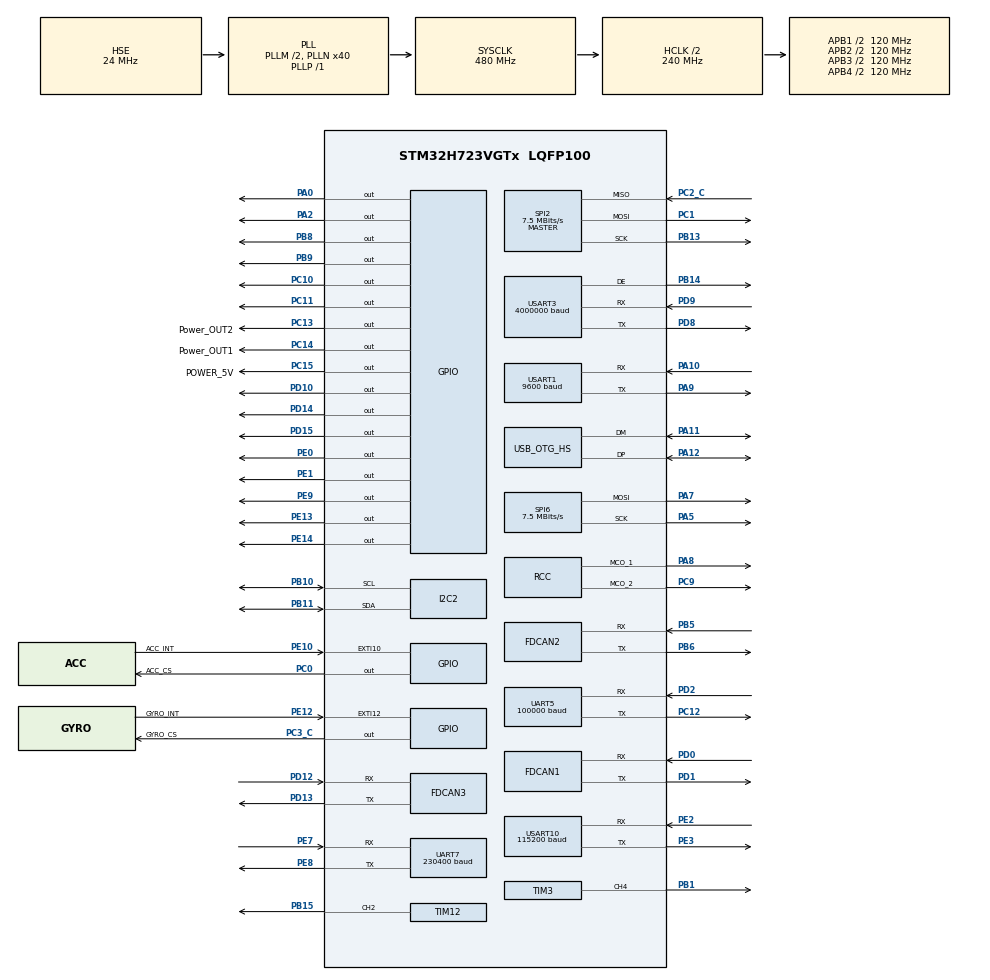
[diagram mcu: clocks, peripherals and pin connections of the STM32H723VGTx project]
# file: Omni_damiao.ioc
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CORTEX_M7.AccessPermission-Cortex_Memory_Protection_Unit_Region0_Settings=MPU_REGION_PRIV_RO
CORTEX_M7.AccessPermission-Cortex_Memory_Protection_Unit_Region1_Settings=MPU_REGION_FULL_ACCESS
CORTEX_M7.BaseAddress-Cortex_Memory_Protection_Unit_Region0_Settings=0x08000000
CORTEX_M7.BaseAddress-Cortex_Memory_Protection_Unit_Region1_Settings=0x20000000
CORTEX_M7.Enable-Cortex_Memory_Protection_Unit_Region0_Settings=MPU_REGION_ENABLE
CORTEX_M7.Enable-Cortex_Memory_Protection_Unit_Region1_Settings=MPU_REGION_ENABLE
CORTEX_M7.IsCacheable-Cortex_Memory_Protection_Unit_Region0_Settings=MPU_ACCESS_CACHEABLE
CORTEX_M7.MPU_Control=MPU_PRIVILEGED_DEFAULT
CORTEX_M7.Number-Cortex_Memory_Protection_Unit_Region1_Settings=MPU_REGION_NUMBER1
CORTEX_M7.Number-Cortex_Memory_Protection_Unit_Region2_Settings=MPU_REGION_NUMBER2
CORTEX_M7.Number-Cortex_Memory_Protection_Unit_Region3_Settings=MPU_REGION_NUMBER3
CORTEX_M7.Number-Cortex_Memory_Protection_Unit_Region4_Settings=MPU_REGION_NUMBER4
CORTEX_M7.Size-Cortex_Memory_Protection_Unit_Region0_Settings=MPU_REGION_SIZE_1MB
CORTEX_M7.Size-Cortex_Memory_Protection_Unit_Region1_Settings=MPU_REGION_SIZE_128MB
CORTEX_M7.SubRegionDisable-Cortex_Memory_Protection_Unit_Region1_Settings=0xEE
CORTEX_M7.TypeExtField-Cortex_Memory_Protection_Unit_Region0_Settings=MPU_TEX_LEVEL1
CORTEX_M7.TypeExtField-Cortex_Memory_Protection_Unit_Region1_Settings=MPU_TEX_LEVEL1
Dma.Request0=SPI2_RX
Dma.Request1=SPI2_TX
Dma.Request10=USART1_TX
Dma.Request2=UART5_RX
Dma.Request3=UART7_RX
Dma.Request4=UART7_TX
Dma.Request5=USART10_RX
Dma.Request6=USART10_TX
Dma.Request7=USART3_RX
Dma.Request8=USART3_TX
Dma.Request9=USART1_RX
Dma.SPI2_RX.0.Direction=DMA_PERIPH_TO_MEMORY
Dma.SPI2_RX.0.EventEnable=DISABLE
Dma.SPI2_RX.0.FIFOMode=DMA_FIFOMODE_DISABLE
Dma.SPI2_RX.0.Instance=DMA1_Stream0
Dma.SPI2_RX.0.MemDataAlignment=DMA_MDATAALIGN_BYTE
Dma.SPI2_RX.0.MemInc=DMA_MINC_ENABLE
Dma.SPI2_RX.0.Mode=DMA_NORMAL
Dma.SPI2_RX.0.PeriphDataAlignment=DMA_PDATAALIGN_BYTE
Dma.SPI2_RX.0.PeriphInc=DMA_PINC_DISABLE
Dma.SPI2_RX.0.Polarity=HAL_DMAMUX_REQ_GEN_RISING
Dma.SPI2_RX.0.Priority=DMA_PRIORITY_VERY_HIGH
Dma.SPI2_RX.0.RequestNumber=1
Dma.SPI2_RX.0.SignalID=NONE
Dma.SPI2_RX.0.SyncEnable=DISABLE
Dma.SPI2_RX.0.SyncPolarity=HAL_DMAMUX_SYNC_NO_EVENT
Dma.SPI2_RX.0.SyncRequestNumber=1
Dma.SPI2_RX.0.SyncSignalID=NONE
Dma.SPI2_TX.1.Direction=DMA_MEMORY_TO_PERIPH
Dma.SPI2_TX.1.EventEnable=DISABLE
Dma.SPI2_TX.1.FIFOMode=DMA_FIFOMODE_DISABLE
Dma.SPI2_TX.1.Instance=DMA1_Stream1
Dma.SPI2_TX.1.MemDataAlignment=DMA_MDATAALIGN_BYTE
Dma.SPI2_TX.1.MemInc=DMA_MINC_ENABLE
Dma.SPI2_TX.1.Mode=DMA_NORMAL
Dma.SPI2_TX.1.PeriphDataAlignment=DMA_PDATAALIGN_BYTE
Dma.SPI2_TX.1.PeriphInc=DMA_PINC_DISABLE
Dma.SPI2_TX.1.Polarity=HAL_DMAMUX_REQ_GEN_RISING
Dma.SPI2_TX.1.Priority=DMA_PRIORITY_VERY_HIGH
Dma.SPI2_TX.1.RequestNumber=1
Dma.SPI2_TX.1.SignalID=NONE
Dma.SPI2_TX.1.SyncEnable=DISABLE
Dma.SPI2_TX.1.SyncPolarity=HAL_DMAMUX_SYNC_NO_EVENT
Dma.SPI2_TX.1.SyncRequestNumber=1
Dma.SPI2_TX.1.SyncSignalID=NONE
Dma.UART5_RX.2.Direction=DMA_PERIPH_TO_MEMORY
Dma.UART5_RX.2.EventEnable=DISABLE
Dma.UART5_RX.2.FIFOMode=DMA_FIFOMODE_DISABLE
Dma.UART5_RX.2.Instance=DMA1_Stream2
Dma.UART5_RX.2.MemDataAlignment=DMA_MDATAALIGN_BYTE
Dma.UART5_RX.2.MemInc=DMA_MINC_ENABLE
Dma.UART5_RX.2.Mode=DMA_NORMAL
Dma.UART5_RX.2.PeriphDataAlignment=DMA_PDATAALIGN_BYTE
Dma.UART5_RX.2.PeriphInc=DMA_PINC_DISABLE
Dma.UART5_RX.2.Polarity=HAL_DMAMUX_REQ_GEN_RISING
Dma.UART5_RX.2.Priority=DMA_PRIORITY_VERY_HIGH
Dma.UART5_RX.2.RequestNumber=1
Dma.UART5_RX.2.SignalID=NONE
Dma.UART5_RX.2.SyncEnable=DISABLE
Dma.UART5_RX.2.SyncPolarity=HAL_DMAMUX_SYNC_NO_EVENT
Dma.UART5_RX.2.SyncRequestNumber=1
Dma.UART5_RX.2.SyncSignalID=NONE
Dma.UART7_RX.3.Direction=DMA_PERIPH_TO_MEMORY
Dma.UART7_RX.3.EventEnable=DISABLE
Dma.UART7_RX.3.FIFOMode=DMA_FIFOMODE_DISABLE
Dma.UART7_RX.3.Instance=DMA1_Stream3
Dma.UART7_RX.3.MemDataAlignment=DMA_MDATAALIGN_BYTE
Dma.UART7_RX.3.MemInc=DMA_MINC_ENABLE
Dma.UART7_RX.3.Mode=DMA_NORMAL
Dma.UART7_RX.3.PeriphDataAlignment=DMA_PDATAALIGN_BYTE
Dma.UART7_RX.3.PeriphInc=DMA_PINC_DISABLE
Dma.UART7_RX.3.Polarity=HAL_DMAMUX_REQ_GEN_RISING
Dma.UART7_RX.3.Priority=DMA_PRIORITY_VERY_HIGH
Dma.UART7_RX.3.RequestNumber=1
Dma.UART7_RX.3.SignalID=NONE
Dma.UART7_RX.3.SyncEnable=DISABLE
Dma.UART7_RX.3.SyncPolarity=HAL_DMAMUX_SYNC_NO_EVENT
Dma.UART7_RX.3.SyncRequestNumber=1
Dma.UART7_RX.3.SyncSignalID=NONE
Dma.UART7_TX.4.Direction=DMA_MEMORY_TO_PERIPH
Dma.UART7_TX.4.EventEnable=DISABLE
Dma.UART7_TX.4.FIFOMode=DMA_FIFOMODE_DISABLE
Dma.UART7_TX.4.Instance=DMA1_Stream4
Dma.UART7_TX.4.MemDataAlignment=DMA_MDATAALIGN_BYTE
Dma.UART7_TX.4.MemInc=DMA_MINC_ENABLE
Dma.UART7_TX.4.Mode=DMA_NORMAL
Dma.UART7_TX.4.PeriphDataAlignment=DMA_PDATAALIGN_BYTE
Dma.UART7_TX.4.PeriphInc=DMA_PINC_DISABLE
Dma.UART7_TX.4.Polarity=HAL_DMAMUX_REQ_GEN_RISING
Dma.UART7_TX.4.Priority=DMA_PRIORITY_VERY_HIGH
Dma.UART7_TX.4.RequestNumber=1
Dma.UART7_TX.4.SignalID=NONE
Dma.UART7_TX.4.SyncEnable=DISABLE
Dma.UART7_TX.4.SyncPolarity=HAL_DMAMUX_SYNC_NO_EVENT
Dma.UART7_TX.4.SyncRequestNumber=1
Dma.UART7_TX.4.SyncSignalID=NONE
Dma.USART10_RX.5.Direction=DMA_PERIPH_TO_MEMORY
Dma.USART10_RX.5.EventEnable=DISABLE
Dma.USART10_RX.5.FIFOMode=DMA_FIFOMODE_DISABLE
Dma.USART10_RX.5.Instance=DMA1_Stream5
Dma.USART10_RX.5.MemDataAlignment=DMA_MDATAALIGN_BYTE
Dma.USART10_RX.5.MemInc=DMA_MINC_ENABLE
Dma.USART10_RX.5.Mode=DMA_NORMAL
Dma.USART10_RX.5.PeriphDataAlignment=DMA_PDATAALIGN_BYTE
Dma.USART10_RX.5.PeriphInc=DMA_PINC_DISABLE
Dma.USART10_RX.5.Polarity=HAL_DMAMUX_REQ_GEN_RISING
Dma.USART10_RX.5.Priority=DMA_PRIORITY_VERY_HIGH
Dma.USART10_RX.5.RequestNumber=1
Dma.USART10_RX.5.SignalID=NONE
Dma.USART10_RX.5.SyncEnable=DISABLE
Dma.USART10_RX.5.SyncPolarity=HAL_DMAMUX_SYNC_NO_EVENT
Dma.USART10_RX.5.SyncRequestNumber=1
Dma.USART10_RX.5.SyncSignalID=NONE
Dma.USART10_TX.6.Direction=DMA_MEMORY_TO_PERIPH
Dma.USART10_TX.6.EventEnable=DISABLE
Dma.USART10_TX.6.FIFOMode=DMA_FIFOMODE_DISABLE
Dma.USART10_TX.6.Instance=DMA1_Stream6
Dma.USART10_TX.6.MemDataAlignment=DMA_MDATAALIGN_BYTE
Dma.USART10_TX.6.MemInc=DMA_MINC_ENABLE
Dma.USART10_TX.6.Mode=DMA_NORMAL
Dma.USART10_TX.6.PeriphDataAlignment=DMA_PDATAALIGN_BYTE
Dma.USART10_TX.6.PeriphInc=DMA_PINC_DISABLE
Dma.USART10_TX.6.Polarity=HAL_DMAMUX_REQ_GEN_RISING
Dma.USART10_TX.6.Priority=DMA_PRIORITY_VERY_HIGH
Dma.USART10_TX.6.RequestNumber=1
Dma.USART10_TX.6.SignalID=NONE
Dma.USART10_TX.6.SyncEnable=DISABLE
Dma.USART10_TX.6.SyncPolarity=HAL_DMAMUX_SYNC_NO_EVENT
Dma.USART10_TX.6.SyncRequestNumber=1
Dma.USART10_TX.6.SyncSignalID=NONE
Dma.USART1_RX.9.Direction=DMA_PERIPH_TO_MEMORY
Dma.USART1_RX.9.EventEnable=DISABLE
Dma.USART1_RX.9.FIFOMode=DMA_FIFOMODE_DISABLE
Dma.USART1_RX.9.Instance=DMA2_Stream3
Dma.USART1_RX.9.MemDataAlignment=DMA_MDATAALIGN_BYTE
Dma.USART1_RX.9.MemInc=DMA_MINC_ENABLE
Dma.USART1_RX.9.Mode=DMA_NORMAL
Dma.USART1_RX.9.PeriphDataAlignment=DMA_PDATAALIGN_BYTE
Dma.USART1_RX.9.PeriphInc=DMA_PINC_DISABLE
Dma.USART1_RX.9.Polarity=HAL_DMAMUX_REQ_GEN_RISING
Dma.USART1_RX.9.Priority=DMA_PRIORITY_LOW
Dma.USART1_RX.9.RequestNumber=1
Dma.USART1_RX.9.SignalID=NONE
Dma.USART1_RX.9.SyncEnable=DISABLE
Dma.USART1_RX.9.SyncPolarity=HAL_DMAMUX_SYNC_NO_EVENT
Dma.USART1_RX.9.SyncRequestNumber=1
Dma.USART1_RX.9.SyncSignalID=NONE
Dma.USART1_TX.10.Direction=DMA_MEMORY_TO_PERIPH
Dma.USART1_TX.10.EventEnable=DISABLE
Dma.USART1_TX.10.FIFOMode=DMA_FIFOMODE_DISABLE
Dma.USART1_TX.10.Instance=DMA2_Stream4
Dma.USART1_TX.10.MemDataAlignment=DMA_MDATAALIGN_BYTE
Dma.USART1_TX.10.MemInc=DMA_MINC_ENABLE
Dma.USART1_TX.10.Mode=DMA_NORMAL
Dma.USART1_TX.10.PeriphDataAlignment=DMA_PDATAALIGN_BYTE
Dma.USART1_TX.10.PeriphInc=DMA_PINC_DISABLE
Dma.USART1_TX.10.Polarity=HAL_DMAMUX_REQ_GEN_RISING
Dma.USART1_TX.10.Priority=DMA_PRIORITY_LOW
Dma.USART1_TX.10.RequestNumber=1
Dma.USART1_TX.10.SignalID=NONE
Dma.USART1_TX.10.SyncEnable=DISABLE
Dma.USART1_TX.10.SyncPolarity=HAL_DMAMUX_SYNC_NO_EVENT
Dma.USART1_TX.10.SyncRequestNumber=1
Dma.USART1_TX.10.SyncSignalID=NONE
Dma.USART3_RX.7.Direction=DMA_PERIPH_TO_MEMORY
Dma.USART3_RX.7.EventEnable=DISABLE
Dma.USART3_RX.7.FIFOMode=DMA_FIFOMODE_DISABLE
Dma.USART3_RX.7.Instance=DMA1_Stream7
Dma.USART3_RX.7.MemDataAlignment=DMA_MDATAALIGN_BYTE
Dma.USART3_RX.7.MemInc=DMA_MINC_ENABLE
Dma.USART3_RX.7.Mode=DMA_NORMAL
Dma.USART3_RX.7.PeriphDataAlignment=DMA_PDATAALIGN_BYTE
Dma.USART3_RX.7.PeriphInc=DMA_PINC_DISABLE
Dma.USART3_RX.7.Polarity=HAL_DMAMUX_REQ_GEN_RISING
Dma.USART3_RX.7.Priority=DMA_PRIORITY_VERY_HIGH
Dma.USART3_RX.7.RequestNumber=1
Dma.USART3_RX.7.SignalID=NONE
Dma.USART3_RX.7.SyncEnable=DISABLE
Dma.USART3_RX.7.SyncPolarity=HAL_DMAMUX_SYNC_NO_EVENT
Dma.USART3_RX.7.SyncRequestNumber=1
Dma.USART3_RX.7.SyncSignalID=NONE
Dma.USART3_TX.8.Direction=DMA_MEMORY_TO_PERIPH
Dma.USART3_TX.8.EventEnable=DISABLE
Dma.USART3_TX.8.FIFOMode=DMA_FIFOMODE_DISABLE
Dma.USART3_TX.8.Instance=DMA2_Stream0
Dma.USART3_TX.8.MemDataAlignment=DMA_MDATAALIGN_BYTE
Dma.USART3_TX.8.MemInc=DMA_MINC_ENABLE
Dma.USART3_TX.8.Mode=DMA_NORMAL
Dma.USART3_TX.8.PeriphDataAlignment=DMA_PDATAALIGN_BYTE
Dma.USART3_TX.8.PeriphInc=DMA_PINC_DISABLE
Dma.USART3_TX.8.Polarity=HAL_DMAMUX_REQ_GEN_RISING
Dma.USART3_TX.8.Priority=DMA_PRIORITY_VERY_HIGH
Dma.USART3_TX.8.RequestNumber=1
Dma.USART3_TX.8.SignalID=NONE
Dma.USART3_TX.8.SyncEnable=DISABLE
Dma.USART3_TX.8.SyncPolarity=HAL_DMAMUX_SYNC_NO_EVENT
Dma.USART3_TX.8.SyncRequestNumber=1
Dma.USART3_TX.8.SyncSignalID=NONE
FDCAN1.AutoRetransmission=DISABLE
FDCAN1.CalculateBaudRateNominal=1000000
FDCAN1.CalculateTimeBitNominal=1000
FDCAN1.CalculateTimeQuantumNominal=25.0
FDCAN1.DataPrescaler=3
FDCAN1.DataSyncJumpWidth=10
FDCAN1.DataTimeSeg1=29
FDCAN1.DataTimeSeg2=10
FDCAN1.ExtFiltersNbr=1
FDCAN1.NominalPrescaler=3
FDCAN1.NominalSyncJumpWidth=10
FDCAN1.NominalTimeSeg1=29
FDCAN1.NominalTimeSeg2=10
FDCAN1.RxFifo0ElmtsNbr=4
FDCAN1.StdFiltersNbr=1
FDCAN1.TxFifoQueueElmtsNbr=32
FDCAN2.AutoRetransmission=DISABLE
FDCAN2.CalculateBaudRateNominal=1000000
FDCAN2.CalculateTimeBitNominal=1000
FDCAN2.CalculateTimeQuantumNominal=25.0
FDCAN2.DataPrescaler=3
FDCAN2.DataSyncJumpWidth=10
FDCAN2.DataTimeSeg1=29
FDCAN2.DataTimeSeg2=10
FDCAN2.ExtFiltersNbr=1
FDCAN2.MessageRAMOffset=0x406
FDCAN2.NominalPrescaler=3
FDCAN2.NominalSyncJumpWidth=10
FDCAN2.NominalTimeSeg1=29
FDCAN2.NominalTimeSeg2=10
FDCAN2.RxFifo0ElmtsNbr=4
FDCAN2.StdFiltersNbr=1
FDCAN2.TxFifoQueueElmtsNbr=32
FDCAN3.AutoRetransmission=DISABLE
FDCAN3.CalculateBaudRateNominal=1000000
FDCAN3.CalculateTimeBitNominal=1000
FDCAN3.CalculateTimeQuantumNominal=25.0
FDCAN3.DataPrescaler=3
FDCAN3.DataSyncJumpWidth=10
FDCAN3.DataTimeSeg1=29
FDCAN3.DataTimeSeg2=10
FDCAN3.ExtFiltersNbr=1
FDCAN3.MessageRAMOffset=0x812
FDCAN3.NominalPrescaler=3
FDCAN3.NominalSyncJumpWidth=10
FDCAN3.NominalTimeSeg1=29
FDCAN3.NominalTimeSeg2=10
FDCAN3.RxFifo0ElmtsNbr=4
FDCAN3.StdFiltersNbr=1
FDCAN3.TxFifoQueueElmtsNbr=32
FREERTOS.Tasks01=Remote_control,48,512,Remote_control_Task,Default,NULL,Dynamic,NULL,NULL;Arm_MT,41,512,Arm_MT_Task,Default,NULL,Dynamic,NULL,NULL;Lift_control,42,256,Lift_control_Task,Default,NULL,Dynamic,NULL,NULL;Motor_control,9,256,Motor_control_Task,Default,NULL,Dynamic,NULL,NULL;Head,43,128,Head_Task,Default,NULL,Dynamic,NULL,NULL;Arm_update,42,512,Arm_update_Task,Default,NULL,Dynamic,NULL,NULL;Log_and_debug,11,256,Log_and_debug_Task,Default,NULL,Dynamic,NULL,NULL;Arm_SV,10,128,Arm_SV_Task,Default,NULL,Dynamic,NULL,NULL;PC_Comm,48,256,PC_Comm_Task,Default,NULL,Dynamic,NULL,NULL
FREERTOS.configENABLE_FPU=1
FREERTOS.configUSE_IDLE_HOOK=1
I2C2.Timing=0x307075B1
IWDG1.Prescaler=IWDG_PRESCALER_256
Mcu.Family=STM32H7
Mcu.Name=STM32H723VGTx
Mcu.Package=LQFP100
NVIC.DMA1_Stream0_IRQn=true\:5\:0\:false\:false\:true\:true\:false\:true\:true
NVIC.DMA1_Stream1_IRQn=true\:5\:0\:false\:false\:true\:true\:false\:true\:true
NVIC.DMA1_Stream2_IRQn=true\:5\:0\:false\:false\:true\:true\:false\:true\:true
NVIC.DMA1_Stream3_IRQn=true\:5\:0\:true\:false\:true\:true\:false\:true\:true
NVIC.DMA1_Stream4_IRQn=true\:5\:0\:true\:false\:true\:true\:false\:true\:true
NVIC.DMA1_Stream5_IRQn=true\:5\:0\:false\:false\:true\:true\:false\:true\:true
NVIC.DMA1_Stream6_IRQn=true\:5\:0\:false\:false\:true\:true\:false\:true\:true
NVIC.DMA1_Stream7_IRQn=true\:5\:0\:false\:false\:true\:true\:false\:true\:true
NVIC.DMA2_Stream0_IRQn=true\:5\:0\:false\:false\:true\:true\:false\:true\:true
NVIC.DMA2_Stream3_IRQn=true\:5\:0\:false\:false\:true\:true\:false\:true\:true
NVIC.DMA2_Stream4_IRQn=true\:5\:0\:false\:false\:true\:true\:false\:true\:true
NVIC.FDCAN1_IT0_IRQn=true\:5\:0\:false\:false\:true\:true\:true\:true\:true
NVIC.FDCAN1_IT1_IRQn=true\:5\:0\:false\:false\:true\:true\:true\:true\:true
NVIC.FDCAN2_IT0_IRQn=true\:5\:0\:false\:false\:true\:true\:true\:true\:true
NVIC.FDCAN2_IT1_IRQn=true\:5\:0\:false\:false\:true\:true\:true\:true\:true
NVIC.FDCAN3_IT0_IRQn=true\:5\:0\:false\:false\:true\:true\:true\:true\:true
NVIC.FDCAN3_IT1_IRQn=true\:5\:0\:false\:false\:true\:true\:true\:true\:true
NVIC.OTG_HS_IRQn=true\:5\:0\:false\:false\:true\:true\:true\:true\:true
NVIC.PriorityGroup=NVIC_PRIORITYGROUP_4
NVIC.SPI2_IRQn=true\:5\:0\:false\:false\:true\:true\:true\:true\:true
NVIC.TIM23_IRQn=true\:15\:0\:true\:false\:true\:false\:false\:true\:true
NVIC.TIM8_BRK_TIM12_IRQn=true\:5\:0\:false\:false\:true\:true\:true\:true\:true
NVIC.TIM8_TRG_COM_TIM14_IRQn=true\:5\:0\:false\:false\:true\:true\:true\:true\:true
NVIC.TIM8_UP_TIM13_IRQn=true\:5\:0\:true\:false\:true\:true\:true\:true\:true
NVIC.TimeBase=TIM23_IRQn
NVIC.TimeBaseIP=TIM23
NVIC.UART5_IRQn=true\:5\:0\:false\:false\:true\:true\:true\:true\:true
NVIC.UART7_IRQn=true\:5\:0\:true\:false\:true\:true\:true\:true\:true
NVIC.USART10_IRQn=true\:5\:0\:false\:false\:true\:true\:true\:true\:true
NVIC.USART1_IRQn=true\:5\:0\:false\:false\:true\:true\:true\:true\:true
NVIC.USART3_IRQn=true\:5\:0\:false\:false\:true\:true\:true\:true\:true
PA0.PinState=GPIO_PIN_SET
PA0.Signal=GPIO_Output
PA10.Mode=Asynchronous
PA10.Signal=USART1_RX
PA11.Mode=Device_Only_FS
PA11.Signal=USB_OTG_HS_DM
PA12.Mode=Device_Only_FS
PA12.Signal=USB_OTG_HS_DP
PA13(JTMS/SWDIO).Mode=Serial_Wire
PA13(JTMS/SWDIO).Signal=DEBUG_JTMS-SWDIO
PA14(JTCK/SWCLK).Mode=Serial_Wire
PA14(JTCK/SWCLK).Signal=DEBUG_JTCK-SWCLK
PA2.PinState=GPIO_PIN_SET
PA2.Signal=GPIO_Output
PA3.Signal=OCTOSPIM_P1_IO2
PA5.GPIO_Speed=GPIO_SPEED_FREQ_VERY_HIGH
PA5.Mode=TX_Only_Simplex_Unidirect_Master
PA5.Signal=SPI6_SCK
PA7.Mode=TX_Only_Simplex_Unidirect_Master
PA7.Signal=SPI6_MOSI
PA8.Mode=Clock-out-1
PA8.Signal=RCC_MCO_1
PA9.Mode=Asynchronous
PA9.Signal=USART1_TX
PB1.Signal=S_TIM3_CH4
PB10.Mode=I2C
PB10.Signal=I2C2_SCL
PB11.Mode=I2C
PB11.Signal=I2C2_SDA
PB13.Mode=Full_Duplex_Master
PB13.Signal=SPI2_SCK
PB14.Mode=Hardware Flow Control (RS485)
PB14.Signal=USART3_DE
PB15.Signal=S_TIM12_CH2
PB2.Signal=OCTOSPIM_P1_CLK
PB5.Mode=FDCAN_Activate
PB5.Signal=FDCAN2_RX
PB6.Mode=FDCAN_Activate
PB6.Signal=FDCAN2_TX
PB8.PinState=GPIO_PIN_SET
PB8.Signal=GPIO_Output
PB9.PinState=GPIO_PIN_SET
PB9.Signal=GPIO_Output
PC0.GPIO_Label=ACC_CS
PC0.GPIO_Speed=GPIO_SPEED_FREQ_VERY_HIGH
PC0.PinState=GPIO_PIN_SET
PC0.Signal=GPIO_Output
PC1.Mode=Full_Duplex_Master
PC1.Signal=SPI2_MOSI
PC10.PinState=GPIO_PIN_SET
PC10.Signal=GPIO_Output
PC11.PinState=GPIO_PIN_SET
PC11.Signal=GPIO_Output
PC12.Mode=Asynchronous
PC12.Signal=UART5_TX
PC13.GPIO_Label=Power_OUT2
PC13.PinState=GPIO_PIN_SET
PC13.Signal=GPIO_Output
PC14-OSC32_IN.GPIO_Label=Power_OUT1
PC14-OSC32_IN.PinState=GPIO_PIN_SET
PC14-OSC32_IN.Signal=GPIO_Output
PC15-OSC32_OUT.GPIO_Label=POWER_5V
PC15-OSC32_OUT.PinState=GPIO_PIN_SET
PC15-OSC32_OUT.Signal=GPIO_Output
PC2_C.Mode=Full_Duplex_Master
PC2_C.Signal=SPI2_MISO
PC3_C.GPIO_Label=GYRO_CS
PC3_C.GPIO_Speed=GPIO_SPEED_FREQ_VERY_HIGH
PC3_C.PinState=GPIO_PIN_SET
PC3_C.Signal=GPIO_Output
PC9.Mode=Clock-out-2
PC9.Signal=RCC_MCO_2
PD0.Mode=FDCAN_Activate
PD0.Signal=FDCAN1_RX
PD1.Mode=FDCAN_Activate
PD1.Signal=FDCAN1_TX
PD10.GPIO_PuPd=GPIO_NOPULL
PD10.PinState=GPIO_PIN_SET
PD10.Signal=GPIO_Output
PD11.Signal=OCTOSPIM_P1_IO0
PD12.Mode=FDCAN_Activate
PD12.Signal=FDCAN3_RX
PD13.Mode=FDCAN_Activate
PD13.Signal=FDCAN3_TX
PD14.PinState=GPIO_PIN_SET
PD14.Signal=GPIO_Output
PD15.PinState=GPIO_PIN_SET
PD15.Signal=GPIO_Output
PD2.Mode=Asynchronous
PD2.Signal=UART5_RX
PD8.Mode=Asynchronous
PD8.Signal=USART3_TX
PD9.Mode=Asynchronous
PD9.Signal=USART3_RX
PE0.PinState=GPIO_PIN_SET
PE0.Signal=GPIO_Output
PE1.PinState=GPIO_PIN_SET
PE1.Signal=GPIO_Output
PE10.GPIO_Label=ACC_INT
PE10.Signal=GPXTI10
PE12.GPIO_Label=GYRO_INT
PE12.Signal=GPXTI12
PE13.Signal=GPIO_Output
PE14.PinState=GPIO_PIN_SET
PE14.Signal=GPIO_Output
PE2.GPIO_Speed=GPIO_SPEED_FREQ_VERY_HIGH
PE2.Mode=Asynchronous
PE2.Signal=USART10_RX
PE3.GPIO_Speed=GPIO_SPEED_FREQ_VERY_HIGH
PE3.Mode=Asynchronous
PE3.Signal=USART10_TX
PE7.GPIO_Speed=GPIO_SPEED_FREQ_VERY_HIGH
PE7.Mode=Asynchronous
PE7.Signal=UART7_RX
PE8.GPIO_Speed=GPIO_SPEED_FREQ_VERY_HIGH
PE8.Mode=Asynchronous
PE8.Signal=UART7_TX
PE9.Signal=GPIO_Output
PH0-OSC_IN.Mode=HSE-External-Oscillator
PH0-OSC_IN.Signal=RCC_OSC_IN
PH1-OSC_OUT.Mode=HSE-External-Oscillator
PH1-OSC_OUT.Signal=RCC_OSC_OUT
ProjectManager.HeapSize=0x200
ProjectManager.StackSize=0x400
ProjectManager.TargetToolchain=Makefile
RCC.ADCFreq_Value=48375000
RCC.APB1Freq_Value=120000000
RCC.APB2Freq_Value=120000000
RCC.APB3Freq_Value=120000000
RCC.APB4Freq_Value=120000000
RCC.CortexFreq_Value=480000000
RCC.D1PPRE=RCC_APB3_DIV2
RCC.D2PPRE1=RCC_APB1_DIV2
RCC.D2PPRE2=RCC_APB2_DIV2
RCC.D3PPRE=RCC_APB4_DIV2
RCC.DIVM1=2
RCC.DIVN1=40
RCC.DIVP1=1
RCC.DIVQ1=4
RCC.HCLKFreq_Value=240000000
RCC.HPRE=RCC_HCLK_DIV2
RCC.HSE_VALUE=24000000
RCC.PLLFRACN=0
RCC.PLLSourceVirtual=RCC_PLLSOURCE_HSE
RCC.SYSCLKFreq_VALUE=480000000
RCC.SYSCLKSource=RCC_SYSCLKSOURCE_PLLCLK
RCC.USBCLockSelection=RCC_USBCLKSOURCE_HSI48
RCC.USBFreq_Value=48000000
SH.S_TIM12_CH2.0=TIM12_CH2,PWM Generation2 CH2
SH.S_TIM3_CH4.0=TIM3_CH4,PWM Generation4 CH4
SPI2.BaudRatePrescaler=SPI_BAUDRATEPRESCALER_16
SPI2.CLKPhase=SPI_PHASE_2EDGE
SPI2.CLKPolarity=SPI_POLARITY_HIGH
SPI2.CalculateBaudRate=7.5 MBits/s
SPI2.DataSize=SPI_DATASIZE_8BIT
SPI2.Direction=SPI_DIRECTION_2LINES
SPI2.Mode=SPI_MODE_MASTER
SPI2.VirtualType=VM_MASTER
SPI6.BaudRatePrescaler=SPI_BAUDRATEPRESCALER_16
SPI6.CLKPhase=SPI_PHASE_2EDGE
SPI6.CLKPolarity=SPI_POLARITY_HIGH
SPI6.CalculateBaudRate=7.5 MBits/s
SPI6.DataSize=SPI_DATASIZE_8BIT
SPI6.Direction=SPI_DIRECTION_2LINES_TXONLY
SPI6.Mode=SPI_MODE_MASTER
SPI6.VirtualType=VM_MASTER
TIM12.Channel-PWM\ Generation2\ CH2=TIM_CHANNEL_2
TIM12.Period=250-1
TIM12.Prescaler=240-1
TIM13.Period=100-1
TIM13.Prescaler=2400-1
TIM14.Period=500-1
TIM14.Prescaler=2400-1
TIM3.Channel-PWM\ Generation4\ CH4=TIM_CHANNEL_4
TIM3.Period=20000-1
TIM3.Prescaler=240-1
UART5.BaudRate=100000
UART5.Parity=PARITY_EVEN
UART5.StopBits=UART_STOPBITS_1
UART5.WordLength=WORDLENGTH_9B
UART7.BaudRate=230400
USART1.BaudRate=9600
USART1.VirtualMode-Asynchronous=VM_ASYNC
USART10.BaudRate=115200
USART10.VirtualMode=VM_ASYNC
USART3.BaudRate=4000000
USART3.VirtualMode-Asynchronous=VM_ASYNC
USART3.VirtualMode-Hardware\ Flow\ Control\ (RS485)=VM_ASYNC
USB_DEVICE.CLASS_NAME_HS=CDC
USB_DEVICE.VirtualMode=Cdc
USB_DEVICE.VirtualModeHS=Cdc_HS
USB_OTG_HS.VirtualMode-Device_Only_FS=Device_Only_FS
VP_FREERTOS_VS_CMSIS_V2.Mode=CMSIS_V2
VP_IWDG1_VS_IWDG.Mode=IWDG_Activate
VP_MEMORYMAP_VS_MEMORYMAP.Mode=CurAppReg
VP_SYS_VS_tim23.Mode=TIM23
VP_TIM12_VS_ClockSourceINT.Mode=Internal
VP_TIM13_VS_ClockSourceINT.Mode=Enable_Timer
VP_TIM14_VS_ClockSourceINT.Mode=Enable_Timer
VP_USB_DEVICE_VS_USB_DEVICE_CDC_HS.Mode=CDC_HS
board=custom

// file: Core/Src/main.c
/* USER CODE BEGIN Header */
/**
 ******************************************************************************
 * @file           : main.c
 * @brief          : Main program body
 ******************************************************************************
 * @attention
 *
 * Copyright (c) 2024 STMicroelectronics.
 * All rights reserved.
 *
 * This software is licensed under terms that can be found in the LICENSE file
 * in the root directory of this software component.
 * If no LICENSE file comes with this software, it is provided AS-IS.
 *
 ******************************************************************************
 */
/* USER CODE END Header */
#include "main.h"
#include "cmsis_os.h"
#include "dma.h"
#include "fdcan.h"
#include "i2c.h"
#include "iwdg.h"
#include "spi.h"
#include "tim.h"
#include "usart.h"
#include "usb_device.h"
#include "gpio.h"

/* USER CODE BEGIN Includes */
#include "UART_data_txrx.h"
#include "CAN_receive_send.h"
#include "IMU_updata.h"
#include "LED.h"
#include "music.h"
#include "head.h"
#include "arm_sv.h"
/* USER CODE END Includes */

void SystemClock_Config(void);
static void MPU_Config(void);
void MX_FREERTOS_Init(void);

/* USER CODE BEGIN 0 */
HAL_StatusTypeDef ITsta;
extern DMA_HandleTypeDef hdma_uart7_rx;
/* USER CODE END 0 */

int main(void)
{

  /* MPU Configuration--------------------------------------------------------*/
  MPU_Config();

  /* MCU Configuration--------------------------------------------------------*/

  /* Reset of all peripherals, Initializes the Flash interface and the Systick. */
  HAL_Init();

  /* Configure the system clock */
  SystemClock_Config();

  /* Initialize all configured peripherals */
  MX_GPIO_Init();
  MX_DMA_Init();
  MX_FDCAN1_Init();
  MX_FDCAN2_Init();
  MX_SPI2_Init();
  MX_TIM3_Init();
  MX_TIM13_Init();
  MX_TIM14_Init();
  MX_SPI6_Init();
  MX_UART5_Init();
  MX_UART7_Init();
  MX_USART10_UART_Init();
  MX_FDCAN3_Init();
  MX_IWDG1_Init();
  MX_USART3_UART_Init();
  MX_USART1_UART_Init();
  MX_TIM12_Init();
  MX_I2C2_Init();
  /* USER CODE BEGIN 2 */
  // HAL_IWDG_Refresh(&hiwdg1);
  /*INIT*/
  uart_init();
  can_init();
  IMU_init();
  Music_init();
  Arm_Init();
  Head_Init();
  HAL_IWDG_Refresh(&hiwdg1);
  remote_control_init();
  Pump_Init();
  Lift_Init();
  ARM_SV_Init(50.0f);
  /* USER CODE END 2 */

  /* Init scheduler */
  osKernelInitialize();  /* Call init function for freertos objects (in cmsis_os2.c) */
  MX_FREERTOS_Init();
  /* Start scheduler */
  osKernelStart();

  /* We should never get here as control is now taken by the scheduler */

  /* Infinite loop */
  while (1)
  {

  }
}

void SystemClock_Config(void)
{
  RCC_OscInitTypeDef RCC_OscInitStruct = {0};
  RCC_ClkInitTypeDef RCC_ClkInitStruct = {0};

  /** Supply configuration update enable
  */
  HAL_PWREx_ConfigSupply(PWR_LDO_SUPPLY);

  /** Configure the main internal regulator output voltage
  */
  __HAL_PWR_VOLTAGESCALING_CONFIG(PWR_REGULATOR_VOLTAGE_SCALE0);

  while(!__HAL_PWR_GET_FLAG(PWR_FLAG_VOSRDY)) {}

  /** Initializes the RCC Oscillators according to the specified parameters
  * in the RCC_OscInitTypeDef structure.
  */
  RCC_OscInitStruct.OscillatorType = RCC_OSCILLATORTYPE_HSI48|RCC_OSCILLATORTYPE_HSI
                              |RCC_OSCILLATORTYPE_LSI|RCC_OSCILLATORTYPE_HSE;
  RCC_OscInitStruct.HSEState = RCC_HSE_ON;
  RCC_OscInitStruct.HSIState = RCC_HSI_DIV1;
  RCC_OscInitStruct.HSICalibrationValue = 64;
  RCC_OscInitStruct.LSIState = RCC_LSI_ON;
  RCC_OscInitStruct.HSI48State = RCC_HSI48_ON;
  RCC_OscInitStruct.PLL.PLLState = RCC_PLL_ON;
  RCC_OscInitStruct.PLL.PLLSource = RCC_PLLSOURCE_HSE;
  RCC_OscInitStruct.PLL.PLLM = 2;
  RCC_OscInitStruct.PLL.PLLN = 40;
  RCC_OscInitStruct.PLL.PLLP = 1;
  RCC_OscInitStruct.PLL.PLLQ = 4;
  RCC_OscInitStruct.PLL.PLLR = 2;
  RCC_OscInitStruct.PLL.PLLRGE = RCC_PLL1VCIRANGE_3;
  RCC_OscInitStruct.PLL.PLLVCOSEL = RCC_PLL1VCOWIDE;
  RCC_OscInitStruct.PLL.PLLFRACN = 0;
  if (HAL_RCC_OscConfig(&RCC_OscInitStruct) != HAL_OK)
  {
    Error_Handler();
  }

  /** Initializes the CPU, AHB and APB buses clocks
  */
  RCC_ClkInitStruct.ClockType = RCC_CLOCKTYPE_HCLK|RCC_CLOCKTYPE_SYSCLK
                              |RCC_CLOCKTYPE_PCLK1|RCC_CLOCKTYPE_PCLK2
                              |RCC_CLOCKTYPE_D3PCLK1|RCC_CLOCKTYPE_D1PCLK1;
  RCC_ClkInitStruct.SYSCLKSource = RCC_SYSCLKSOURCE_PLLCLK;
  RCC_ClkInitStruct.SYSCLKDivider = RCC_SYSCLK_DIV1;
  RCC_ClkInitStruct.AHBCLKDivider = RCC_HCLK_DIV2;
  RCC_ClkInitStruct.APB3CLKDivider = RCC_APB3_DIV2;
  RCC_ClkInitStruct.APB1CLKDivider = RCC_APB1_DIV2;
  RCC_ClkInitStruct.APB2CLKDivider = RCC_APB2_DIV2;
  RCC_ClkInitStruct.APB4CLKDivider = RCC_APB4_DIV2;

  if (HAL_RCC_ClockConfig(&RCC_ClkInitStruct, FLASH_LATENCY_3) != HAL_OK)
  {
    Error_Handler();
  }
  HAL_RCC_MCOConfig(RCC_MCO1, RCC_MCO1SOURCE_HSI, RCC_MCODIV_1);
  HAL_RCC_MCOConfig(RCC_MCO2, RCC_MCO2SOURCE_SYSCLK, RCC_MCODIV_1);
}

 /* MPU Configuration */

void MPU_Config(void)
{
  MPU_Region_InitTypeDef MPU_InitStruct = {0};

  /* Disables the MPU */
  HAL_MPU_Disable();

  /** Initializes and configures the Region and the memory to be protected
  */
  MPU_InitStruct.Enable = MPU_REGION_ENABLE;
  MPU_InitStruct.Number = MPU_REGION_NUMBER0;
  MPU_InitStruct.BaseAddress = 0x08000000;
  MPU_InitStruct.Size = MPU_REGION_SIZE_1MB;
  MPU_InitStruct.SubRegionDisable = 0x0;
  MPU_InitStruct.TypeExtField = MPU_TEX_LEVEL1;
  MPU_InitStruct.AccessPermission = MPU_REGION_PRIV_RO;
  MPU_InitStruct.DisableExec = MPU_INSTRUCTION_ACCESS_ENABLE;
  MPU_InitStruct.IsShareable = MPU_ACCESS_NOT_SHAREABLE;
  MPU_InitStruct.IsCacheable = MPU_ACCESS_CACHEABLE;
  MPU_InitStruct.IsBufferable = MPU_ACCESS_NOT_BUFFERABLE;

  HAL_MPU_ConfigRegion(&MPU_InitStruct);

  /** Initializes and configures the Region and the memory to be protected
  */
  MPU_InitStruct.Number = MPU_REGION_NUMBER1;
  MPU_InitStruct.BaseAddress = 0x20000000;
  MPU_InitStruct.Size = MPU_REGION_SIZE_128MB;
  MPU_InitStruct.SubRegionDisable = 0xEE;
  MPU_InitStruct.AccessPermission = MPU_REGION_FULL_ACCESS;
  MPU_InitStruct.IsCacheable = MPU_ACCESS_NOT_CACHEABLE;

  HAL_MPU_ConfigRegion(&MPU_InitStruct);

  /** Initializes and configures the Region and the memory to be protected
  */
  MPU_InitStruct.Number = MPU_REGION_NUMBER2;
  HAL_MPU_ConfigRegion(&MPU_InitStruct);

  /** Initializes and configures the Region and the memory to be protected
  */
  MPU_InitStruct.Number = MPU_REGION_NUMBER3;
  HAL_MPU_ConfigRegion(&MPU_InitStruct);

  /** Initializes and configures the Region and the memory to be protected
  */
  MPU_InitStruct.Number = MPU_REGION_NUMBER4;
  HAL_MPU_ConfigRegion(&MPU_InitStruct);
  /* Enables the MPU */
  HAL_MPU_Enable(MPU_PRIVILEGED_DEFAULT);

}

void HAL_TIM_PeriodElapsedCallback(TIM_HandleTypeDef *htim)
{
  if (htim->Instance == TIM23)
  {
    HAL_IncTick();
  }
  /* USER CODE BEGIN Callback 1 */
  else if (htim->Instance == TIM13) // 1000HZ
  {
    static uint8_t i;
    IMU_updata();
    if (i >= 5)
    {

      i = 0;
    }
    i++;
  }
  /* USER CODE END Callback 1 */
}

void Error_Handler(void)
{
  __disable_irq();
  while (1)
  {
  }
}

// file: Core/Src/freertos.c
/* USER CODE BEGIN Header */
/**
 ******************************************************************************
 * File Name          : freertos.c
 * Description        : Code for freertos applications
 ******************************************************************************
 * @attention
 *
 * Copyright (c) 2024 STMicroelectronics.
 * All rights reserved.
 *
 * This software is licensed under terms that can be found in the LICENSE file
 * in the root directory of this software component.
 * If no LICENSE file comes with this software, it is provided AS-IS.
 *
 ******************************************************************************
 */
/* USER CODE END Header */

#include "FreeRTOS.h"
#include "task.h"
#include "main.h"
#include "cmsis_os.h"

/* USER CODE BEGIN Includes */
#include "remote_control.h"
#include "music.h"
#include "stdio.h"
#include "LED.h"
#include <cmsis_os2.h>
#include "iwdg.h"
#include "buzzer.h"
#include "task.h"
#include "arm.h"
#include "head.h"
#include "lift_control.h"
#include "arm_sv.h"
#include "Sbus.h"
#include "stp23l.h"
#include "uart_protocol.h"
#include "pt_sensor.h"
#include "usart.h"
/* USER CODE END Includes */

/* USER CODE BEGIN Variables */
uint32_t color = 0;
/* USER CODE END Variables */
/* Definitions for Remote_control */
osThreadId_t Remote_controlHandle;
const osThreadAttr_t Remote_control_attributes = {
    .name = "Remote_control",
    .stack_size = 512 * 4,
    .priority = (osPriority_t)osPriorityRealtime,
};
/* Definitions for Arm_MT */
osThreadId_t Arm_MTHandle;
const osThreadAttr_t Arm_MT_attributes = {
    .name = "Arm_MT",
    .stack_size = 512 * 4,
    .priority = (osPriority_t)osPriorityHigh1,
};
/* Definitions for Lift_control */
osThreadId_t Lift_controlHandle;
const osThreadAttr_t Lift_control_attributes = {
    .name = "Lift_control",
    .stack_size = 256 * 4,
    .priority = (osPriority_t)osPriorityHigh2,
};
/* Definitions for Motor_control */
osThreadId_t Motor_controlHandle;
const osThreadAttr_t Motor_control_attributes = {
    .name = "Motor_control",
    .stack_size = 256 * 4,
    .priority = (osPriority_t)osPriorityLow1,
};
/* Definitions for Head */
osThreadId_t HeadHandle;
const osThreadAttr_t Head_attributes = {
    .name = "Head",
    .stack_size = 128 * 4,
    .priority = (osPriority_t)osPriorityHigh3,
};
/* Definitions for Arm_update */
osThreadId_t Arm_updateHandle;
const osThreadAttr_t Arm_update_attributes = {
    .name = "Arm_update",
    .stack_size = 512 * 4,
    .priority = (osPriority_t)osPriorityHigh2,
};
/* Definitions for Log_and_debug */
osThreadId_t Log_and_debugHandle;
const osThreadAttr_t Log_and_debug_attributes = {
    .name = "Log_and_debug",
    .stack_size = 256 * 4,
    .priority = (osPriority_t)osPriorityLow3,
};
/* Definitions for Arm_SV */
osThreadId_t Arm_SVHandle;
const osThreadAttr_t Arm_SV_attributes = {
    .name = "Arm_SV",
    .stack_size = 128 * 4,
    .priority = (osPriority_t)osPriorityLow2,
};
/* Definitions for PC_Comm */
osThreadId_t PC_CommHandle;
const osThreadAttr_t PC_Comm_attributes = {
    .name = "PC_Comm",
    .stack_size = 256 * 4,
    .priority = (osPriority_t)osPriorityRealtime,
};

void Remote_control_Task(void *argument);
void Arm_MT_Task(void *argument);
void Lift_control_Task(void *argument);
void Motor_control_Task(void *argument);
void Head_Task(void *argument);
void Arm_update_Task(void *argument);
void Log_and_debug_Task(void *argument);
void Arm_SV_Task(void *argument);
void PC_Comm_Task(void *argument);

extern void MX_USB_DEVICE_Init(void);
void MX_FREERTOS_Init(void); /* (MISRA C 2004 rule 8.1) */

/* Hook prototypes */
void vApplicationIdleHook(void);

/* USER CODE BEGIN 2 */
void vApplicationIdleHook(void)
{
  /* vApplicationIdleHook() will only be called if configUSE_IDLE_HOOK is set
  to 1 in FreeRTOSConfig.h. It will be called on each iteration of the idle
  task. It is essential that code added to this hook function never attempts
  to block in any way (for example, call xQueueReceive() with a block time
  specified, or call vTaskDelay()). If the application makes use of the
  vTaskDelete() API function (as this demo application does) then it is also
  important that vApplicationIdleHook() is permitted to return to its calling
  function, because it is the responsibility of the idle task to clean up
  memory allocated by the kernel to any task that has since been deleted. */
}
/* USER CODE END 2 */

void MX_FREERTOS_Init(void)
{

  /* Create the thread(s) */
  /* creation of Remote_control */
  Remote_controlHandle = osThreadNew(Remote_control_Task, NULL, &Remote_control_attributes);

  /* creation of Arm_MT */
  Arm_MTHandle = osThreadNew(Arm_MT_Task, NULL, &Arm_MT_attributes);

  /* creation of Lift_control */
  Lift_controlHandle = osThreadNew(Lift_control_Task, NULL, &Lift_control_attributes);

  /* creation of Motor_control */
  Motor_controlHandle = osThreadNew(Motor_control_Task, NULL, &Motor_control_attributes);

  /* creation of Head */
  HeadHandle = osThreadNew(Head_Task, NULL, &Head_attributes);

  /* creation of Arm_update */
  Arm_updateHandle = osThreadNew(Arm_update_Task, NULL, &Arm_update_attributes);

  /* creation of Log_and_debug */
  Log_and_debugHandle = osThreadNew(Log_and_debug_Task, NULL, &Log_and_debug_attributes);

  /* creation of Arm_SV */
  Arm_SVHandle = osThreadNew(Arm_SV_Task, NULL, &Arm_SV_attributes);

  /* creation of PC_Comm */
  PC_CommHandle = osThreadNew(PC_Comm_Task, NULL, &PC_Comm_attributes);

}

void Remote_control_Task(void *argument)
{
  /* init code for USB_DEVICE */

  /* USER CODE BEGIN Remote_control_Task */
  MX_USB_DEVICE_Init();
  int control_mode = 1; // 0: 遥控模式, 1: pc模式
  PT_Send_ReadTemp_Cmd(&huart1);
  /* Infinite loop */
  for (;;)
  {
    PT_Send_ReadPress_Cmd(&huart1);
    osDelay(1);
    update_sbus(sbus_data_buffer, &SBUS_CH); //

    if (control_mode == 0)
    {
      // 遥控模式
      osDelay(1);
      Pump_Control_Updata();
      osDelay(1);
      Head_Motor_Control_Updata();
      osDelay(1);
      Up_Down_Motor_Control_Updata();
    }
    else if(control_mode==1)
    {
      // pc模式
      osDelay(1);
      PC_Pump_Control_Updata();
      osDelay(1);
      PC_Head_Motor_Control_Updata();
      osDelay(1);
      PC_Up_Down_Motor_Control_Updata();
      osDelay(1);
      PC_Arm_Motor_Control_Updata();
    }
    ARM_SV_Tx_Rx();
    osDelay(1);
  }
  /* USER CODE END Remote_control_Task */
}

void Arm_MT_Task(void *argument)
{
  /* USER CODE BEGIN Arm_MT_Task */
  /* Infinite loop */
  for (;;)
  {
    osDelay(1);
    Arm_all_tx();
  }
  /* USER CODE END Arm_MT_Task */
}

void Lift_control_Task(void *argument)
{
  /* USER CODE BEGIN Lift_control_Task */
  /* Infinite loop */
  for (;;)
  {
    STP23L_ParseData(stp23l_raw_data, sizeof(stp23l_raw_data)); // 解析升降数据包
    PT_ParsePressureToGlobal(pt_raw_buf, sizeof(pt_raw_buf));

    Lift_RefreshHeight();           // 高度数据处理，得到当前高度
    Lift_GoToTarget(aim_tx_height); // 根据目标高度，控制电机运动
    osDelay(1);
    Pump_Update(); // 更新气泵状态
    osDelay(1);
    Lift_UpdateMotor(); // 发生升降控制信息
  }
  /* USER CODE END Lift_control_Task */
}

void Motor_control_Task(void *argument)
{
  for (;;)
  {
    osDelay(1);
  }
}

void Head_Task(void *argument)
{
  /* USER CODE BEGIN Head_Task */
  /* Infinite loop */
  for (;;)
  {
    Head_all_tx();

    Head_Lk_Data_update();

    osDelay(1);
  }
  /* USER CODE END Head_Task */
}

void Arm_update_Task(void *argument)
{
  /* USER CODE BEGIN Arm_update_Task */
  /* Infinite loop */
  for (;;)
  {
    Arm_All_Data_update();
    osDelay(1);
  }
  /* USER CODE END Arm_update_Task */
}

void Log_and_debug_Task(void *argument)
{
  /* USER CODE BEGIN Log_and_debug_Task */
  LEDshowcolor(RED);
  osDelay(50);
  LEDshowcolor(BLUE);
  osDelay(50);
  LEDshowcolor(GREEN);
  osDelay(50);
  /* Infinite loop */
  for (;;)
  {
    // Music_play(melody);
    // printf("hello\n");
    // Music_play_56_nations();
    osDelay(1);
  }
  /* USER CODE END Log_and_debug_Task */
}

void Arm_SV_Task(void *argument)
{
  /* USER CODE BEGIN Arm_SV_Task */
  /* Infinite loop */

  for (;;)
  {
    // ARM_SV_Tx_Rx();
    osDelay(1);
  }
  /* USER CODE END Arm_SV_Task */
}

void PC_Comm_Task(void *argument)
{
  /* USER CODE BEGIN PC_Comm_Task */
  /* Infinite loop */
  for (;;)
  {
    //
    unpack_dn_frame(uart_protocol_raw_data, &pc_dn_data);
    osDelay(1);
    HAL_IWDG_Refresh(&hiwdg1);
  }
  /* USER CODE END PC_Comm_Task */
}
